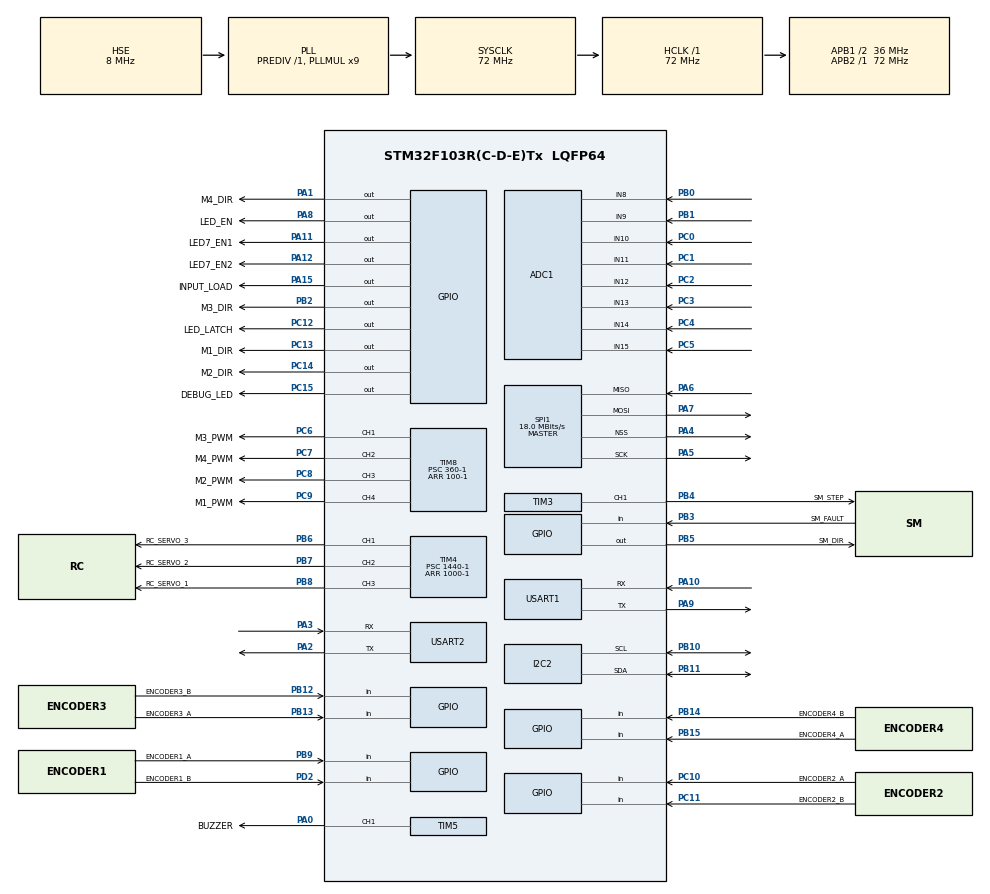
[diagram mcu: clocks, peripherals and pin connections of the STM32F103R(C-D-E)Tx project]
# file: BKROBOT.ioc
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ADC1.Channel-0\#ChannelRegularConversion=ADC_CHANNEL_8
ADC1.Channel-1\#ChannelRegularConversion=ADC_CHANNEL_9
ADC1.Channel-2\#ChannelRegularConversion=ADC_CHANNEL_10
ADC1.Channel-3\#ChannelRegularConversion=ADC_CHANNEL_11
ADC1.Channel-4\#ChannelRegularConversion=ADC_CHANNEL_12
ADC1.Channel-5\#ChannelRegularConversion=ADC_CHANNEL_13
ADC1.Channel-6\#ChannelRegularConversion=ADC_CHANNEL_14
ADC1.Channel-7\#ChannelRegularConversion=ADC_CHANNEL_15
ADC1.ContinuousConvMode=DISABLE
ADC1.DataAlign=ADC_DATAALIGN_RIGHT
ADC1.NbrOfConversion=8
ADC1.NbrOfConversionFlag=1
ADC1.Rank-0\#ChannelRegularConversion=1
ADC1.Rank-1\#ChannelRegularConversion=2
ADC1.Rank-2\#ChannelRegularConversion=3
ADC1.Rank-3\#ChannelRegularConversion=4
ADC1.Rank-4\#ChannelRegularConversion=5
ADC1.Rank-5\#ChannelRegularConversion=6
ADC1.Rank-6\#ChannelRegularConversion=7
ADC1.Rank-7\#ChannelRegularConversion=8
ADC1.SamplingTime-0\#ChannelRegularConversion=ADC_SAMPLETIME_13CYCLES_5
ADC1.SamplingTime-1\#ChannelRegularConversion=ADC_SAMPLETIME_13CYCLES_5
ADC1.SamplingTime-2\#ChannelRegularConversion=ADC_SAMPLETIME_13CYCLES_5
ADC1.SamplingTime-3\#ChannelRegularConversion=ADC_SAMPLETIME_13CYCLES_5
ADC1.SamplingTime-4\#ChannelRegularConversion=ADC_SAMPLETIME_13CYCLES_5
ADC1.SamplingTime-5\#ChannelRegularConversion=ADC_SAMPLETIME_13CYCLES_5
ADC1.SamplingTime-6\#ChannelRegularConversion=ADC_SAMPLETIME_13CYCLES_5
ADC1.SamplingTime-7\#ChannelRegularConversion=ADC_SAMPLETIME_13CYCLES_5
ADC1.master=1
Dma.ADC1.0.Direction=DMA_PERIPH_TO_MEMORY
Dma.ADC1.0.Instance=DMA1_Channel1
Dma.ADC1.0.MemDataAlignment=DMA_MDATAALIGN_HALFWORD
Dma.ADC1.0.MemInc=DMA_MINC_ENABLE
Dma.ADC1.0.Mode=DMA_NORMAL
Dma.ADC1.0.PeriphDataAlignment=DMA_PDATAALIGN_HALFWORD
Dma.ADC1.0.PeriphInc=DMA_PINC_DISABLE
Dma.ADC1.0.Priority=DMA_PRIORITY_HIGH
Dma.Request0=ADC1
Mcu.Family=STM32F1
Mcu.Name=STM32F103R(C-D-E)Tx
Mcu.Package=LQFP64
NVIC.DMA1_Channel1_IRQn=true\:0\:0\:false\:false\:true\:false\:true\:true
NVIC.PriorityGroup=NVIC_PRIORITYGROUP_4
NVIC.TIM2_IRQn=true\:1\:0\:true\:false\:true\:true\:true\:true
NVIC.TIM3_IRQn=true\:0\:0\:true\:false\:true\:true\:true\:true
NVIC.USART1_IRQn=true\:0\:0\:false\:false\:true\:true\:true\:true
NVIC.USART2_IRQn=true\:0\:0\:false\:false\:true\:true\:true\:true
PA0-WKUP.GPIO_Label=BUZZER
PA0-WKUP.Signal=S_TIM5_CH1
PA1.GPIO_Label=M4_DIR
PA1.Signal=GPIO_Output
PA10.Mode=Asynchronous
PA10.Signal=USART1_RX
PA11.GPIO_Label=LED7_EN1
PA11.Signal=GPIO_Output
PA12.GPIO_Label=LED7_EN2
PA12.Signal=GPIO_Output
PA13.Mode=Serial_Wire
PA13.Signal=SYS_JTMS-SWDIO
PA14.Mode=Serial_Wire
PA14.Signal=SYS_JTCK-SWCLK
PA15.GPIO_Label=INPUT_LOAD
PA15.Signal=GPIO_Output
PA2.Mode=Asynchronous
PA2.Signal=USART2_TX
PA3.Mode=Asynchronous
PA3.Signal=USART2_RX
PA4.Mode=NSS_Signal_Hard_Output
PA4.Signal=SPI1_NSS
PA5.Mode=Full_Duplex_Master
PA5.Signal=SPI1_SCK
PA6.Mode=Full_Duplex_Master
PA6.Signal=SPI1_MISO
PA7.Mode=Full_Duplex_Master
PA7.Signal=SPI1_MOSI
PA8.GPIO_Label=LED_EN
PA8.Signal=GPIO_Output
PA9.Mode=Asynchronous
PA9.Signal=USART1_TX
PB0.Signal=ADCx_IN8
PB1.Signal=ADCx_IN9
PB10.Mode=I2C
PB10.Signal=I2C2_SCL
PB11.Mode=I2C
PB11.Signal=I2C2_SDA
PB12.GPIO_Label=ENCODER3_B
PB12.Signal=GPIO_Input
PB13.GPIO_Label=ENCODER3_A
PB13.Signal=GPIO_Input
PB14.GPIO_Label=ENCODER4_B
PB14.Signal=GPIO_Input
PB15.GPIO_Label=ENCODER4_A
PB15.Signal=GPIO_Input
PB2.GPIO_Label=M3_DIR
PB2.Signal=GPIO_Output
PB3.GPIO_Label=SM_FAULT
PB3.Signal=GPIO_Input
PB4.GPIO_Label=SM_STEP
PB4.Signal=S_TIM3_CH1
PB5.GPIO_Label=SM_DIR
PB5.GPIO_Speed=GPIO_SPEED_FREQ_HIGH
PB5.PinState=GPIO_PIN_RESET
PB5.Signal=GPIO_Output
PB6.GPIO_Label=RC_SERVO_3
PB6.Signal=S_TIM4_CH1
PB7.GPIO_Label=RC_SERVO_2
PB7.Signal=S_TIM4_CH2
PB8.GPIO_Label=RC_SERVO_1
PB8.Signal=S_TIM4_CH3
PB9.GPIO_Label=ENCODER1_A
PB9.Signal=GPIO_Input
PC0.Signal=ADCx_IN10
PC1.Signal=ADCx_IN11
PC10.GPIO_Label=ENCODER2_A
PC10.Signal=GPIO_Input
PC11.GPIO_Label=ENCODER2_B
PC11.Signal=GPIO_Input
PC12.GPIO_Label=LED_LATCH
PC12.Signal=GPIO_Output
PC13-TAMPER-RTC.GPIO_Label=M1_DIR
PC13-TAMPER-RTC.Signal=GPIO_Output
PC14-OSC32_IN.GPIO_Label=M2_DIR
PC14-OSC32_IN.Signal=GPIO_Output
PC15-OSC32_OUT.GPIO_Label=DEBUG_LED
PC15-OSC32_OUT.Signal=GPIO_Output
PC2.Signal=ADCx_IN12
PC3.Signal=ADCx_IN13
PC4.Signal=ADCx_IN14
PC5.Signal=ADCx_IN15
PC6.GPIO_Label=M3_PWM
PC6.Signal=S_TIM8_CH1
PC7.GPIO_Label=M4_PWM
PC7.Signal=S_TIM8_CH2
PC8.GPIO_Label=M2_PWM
PC8.Signal=S_TIM8_CH3
PC9.GPIO_Label=M1_PWM
PC9.Signal=S_TIM8_CH4
PD0-OSC_IN.Mode=HSE-External-Oscillator
PD0-OSC_IN.Signal=RCC_OSC_IN
PD1-OSC_OUT.Mode=HSE-External-Oscillator
PD1-OSC_OUT.Signal=RCC_OSC_OUT
PD2.GPIO_Label=ENCODER1_B
PD2.Signal=GPIO_Input
ProjectManager.HeapSize=0x200
ProjectManager.StackSize=0x400
ProjectManager.TargetToolchain=STM32CubeIDE
RCC.ADCPresc=RCC_ADCPCLK2_DIV6
RCC.AHBFreq_Value=72000000
RCC.APB1CLKDivider=RCC_HCLK_DIV2
RCC.APB1Freq_Value=36000000
RCC.APB1TimFreq_Value=72000000
RCC.APB2Freq_Value=72000000
RCC.APB2TimFreq_Value=72000000
RCC.HCLKFreq_Value=72000000
RCC.PLLMUL=RCC_PLL_MUL9
RCC.PLLSourceVirtual=RCC_PLLSOURCE_HSE
RCC.SYSCLKFreq_VALUE=72000000
RCC.SYSCLKSource=RCC_SYSCLKSOURCE_PLLCLK
RCC.USBFreq_Value=72000000
SH.ADCx_IN10.0=ADC1_IN10,IN10
SH.ADCx_IN11.0=ADC1_IN11,IN11
SH.ADCx_IN12.0=ADC1_IN12,IN12
SH.ADCx_IN13.0=ADC1_IN13,IN13
SH.ADCx_IN14.0=ADC1_IN14,IN14
SH.ADCx_IN15.0=ADC1_IN15,IN15
SH.ADCx_IN8.0=ADC1_IN8,IN8
SH.ADCx_IN9.0=ADC1_IN9,IN9
SH.S_TIM3_CH1.0=TIM3_CH1,PWM Generation1 CH1
SH.S_TIM4_CH1.0=TIM4_CH1,PWM Generation1 CH1
SH.S_TIM4_CH2.0=TIM4_CH2,PWM Generation2 CH2
SH.S_TIM4_CH3.0=TIM4_CH3,PWM Generation3 CH3
SH.S_TIM5_CH1.0=TIM5_CH1,PWM Generation1 CH1
SH.S_TIM8_CH1.0=TIM8_CH1,PWM Generation1 CH1
SH.S_TIM8_CH2.0=TIM8_CH2,PWM Generation2 CH2
SH.S_TIM8_CH3.0=TIM8_CH3,PWM Generation3 CH3
SH.S_TIM8_CH4.0=TIM8_CH4,PWM Generation4 CH4
SPI1.BaudRatePrescaler=SPI_BAUDRATEPRESCALER_4
SPI1.CalculateBaudRate=18.0 MBits/s
SPI1.Direction=SPI_DIRECTION_2LINES
SPI1.Mode=SPI_MODE_MASTER
SPI1.VirtualNSS=VM_NSSHARD
SPI1.VirtualType=VM_MASTER
TIM2.AutoReloadPreload=TIM_AUTORELOAD_PRELOAD_ENABLE
TIM2.Period=1000-1
TIM2.Prescaler=72-1
TIM3.Channel-PWM\ Generation1\ CH1=TIM_CHANNEL_1
TIM3.Period=100-1
TIM3.Prescaler=720-1
TIM4.Channel-PWM\ Generation1\ CH1=TIM_CHANNEL_1
TIM4.Channel-PWM\ Generation2\ CH2=TIM_CHANNEL_2
TIM4.Channel-PWM\ Generation3\ CH3=TIM_CHANNEL_3
TIM4.Period=1000-1
TIM4.Prescaler=1440-1
TIM4.Pulse-PWM\ Generation1\ CH1=25
TIM4.Pulse-PWM\ Generation2\ CH2=25
TIM4.Pulse-PWM\ Generation3\ CH3=25
TIM5.Channel-PWM\ Generation1\ CH1=TIM_CHANNEL_1
TIM5.Period=100-1
TIM5.Prescaler=720-1
TIM8.Channel-PWM\ Generation1\ CH1=TIM_CHANNEL_1
TIM8.Channel-PWM\ Generation2\ CH2=TIM_CHANNEL_2
TIM8.Channel-PWM\ Generation3\ CH3=TIM_CHANNEL_3
TIM8.Channel-PWM\ Generation4\ CH4=TIM_CHANNEL_4
TIM8.Period=100-1
TIM8.Prescaler=360-1
USART1.VirtualMode=VM_ASYNC
USART2.VirtualMode=VM_ASYNC
VP_TIM2_VS_ClockSourceINT.Mode=Internal
VP_TIM3_VS_ClockSourceINT.Mode=Internal
VP_TIM4_VS_ClockSourceINT.Mode=Internal
VP_TIM5_VS_ClockSourceINT.Mode=Internal
VP_TIM8_VS_ClockSourceINT.Mode=Internal
board=custom

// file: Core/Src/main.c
/* USER CODE BEGIN Header */
/**
  ******************************************************************************
  * @file           : main.c
  * @brief          : Main program body
  ******************************************************************************
  * @attention
  *
  * Copyright (c) 2024 STMicroelectronics.
  * All rights reserved.
  *
  * This software is licensed under terms that can be found in the LICENSE file
  * in the root directory of this software component.
  * If no LICENSE file comes with this software, it is provided AS-IS.
  *
  ******************************************************************************
  */
/* USER CODE END Header */
#include "main.h"
#include "adc.h"
#include "dma.h"
#include "i2c.h"
#include "spi.h"
#include "tim.h"
#include "usart.h"
#include "gpio.h"

/* USER CODE BEGIN Includes */
#include "software_timer.h"
#include "move.h"
#include "servo.h"
#include "gamepad.h"
#include "step.h"
#include "tone.h"
#include "display.h"
#include "sensor.h"
#include "button.h"
/* USER CODE END Includes */

void SystemClock_Config(void);
/* USER CODE BEGIN PFP */
void ledBlink();

/* USER CODE END PFP */

int main(void)
{

  /* MCU Configuration--------------------------------------------------------*/

  /* Reset of all peripherals, Initializes the Flash interface and the Systick. */
  HAL_Init();

  /* Configure the system clock */
  SystemClock_Config();

  /* Initialize all configured peripherals */
  MX_GPIO_Init();
  MX_DMA_Init();
  MX_ADC1_Init();
  MX_USART1_UART_Init();
  MX_USART2_UART_Init();
  MX_I2C2_Init();
  MX_SPI1_Init();
  MX_TIM8_Init();
  MX_TIM4_Init();
  MX_TIM5_Init();
  MX_TIM2_Init();
  MX_TIM3_Init();
  /* USER CODE BEGIN 2 */
  HAL_TIM_Base_Start_IT(&htim2);
  HAL_TIM_PWM_Start(&htim8, TIM_CHANNEL_1);
  HAL_TIM_PWM_Start(&htim8, TIM_CHANNEL_2);
  HAL_TIM_PWM_Start(&htim8, TIM_CHANNEL_3);
  HAL_TIM_PWM_Start(&htim8, TIM_CHANNEL_4);
  setTimer(0, 10);
  setTimer(1, 1000);
  servo_init(SERVO1);
  gamepad_init();
  display_init();
  button_init();
  display_7seg(47);
  display_led(0x0f);
  int len = 17;
  int note[17] = { NOTE_C5, NOTE_D5, NOTE_E5, NOTE_C5, NOTE_MUTE,
		  	  	  NOTE_C5, NOTE_D5, NOTE_E5, NOTE_C5, NOTE_MUTE,
				  NOTE_E5, NOTE_F5, NOTE_G5, NOTE_MUTE,
				  NOTE_E5, NOTE_F5, NOTE_G5};
  int dur[17] = { 1000, 500, 500, 500, 200,
		  500, 500, 500, 500, 200,
		  500, 500, 500, 200,
		  500, 500, 500};

  do {
	  HAL_Delay(10);
	  button_scan();
  }  while(isButtonPressed(0) == 0);

  SensorCalib();
  tone_play(note, dur, len);
  do {
	  HAL_Delay(10);
	  button_scan();
  }
  while(isButtonPressed(0) == 0);
  /* USER CODE END 2 */

  /* Infinite loop */
  /* USER CODE BEGIN WHILE */
  while (1)
  {
	  if(timer_flag[0] == 1){
		  setTimer(0, 10);
		  ledBlink();
		  SensorScan();
		  gamepad_update();
		  gamepad_run_tele(2);
		  followLineUntilCross();
	  }

    /* USER CODE END WHILE */

  }
}

void SystemClock_Config(void)
{
  RCC_OscInitTypeDef RCC_OscInitStruct = {0};
  RCC_ClkInitTypeDef RCC_ClkInitStruct = {0};
  RCC_PeriphCLKInitTypeDef PeriphClkInit = {0};

  /** Initializes the RCC Oscillators according to the specified parameters
  * in the RCC_OscInitTypeDef structure.
  */
  RCC_OscInitStruct.OscillatorType = RCC_OSCILLATORTYPE_HSE;
  RCC_OscInitStruct.HSEState = RCC_HSE_ON;
  RCC_OscInitStruct.HSEPredivValue = RCC_HSE_PREDIV_DIV1;
  RCC_OscInitStruct.HSIState = RCC_HSI_ON;
  RCC_OscInitStruct.PLL.PLLState = RCC_PLL_ON;
  RCC_OscInitStruct.PLL.PLLSource = RCC_PLLSOURCE_HSE;
  RCC_OscInitStruct.PLL.PLLMUL = RCC_PLL_MUL9;
  if (HAL_RCC_OscConfig(&RCC_OscInitStruct) != HAL_OK)
  {
    Error_Handler();
  }

  /** Initializes the CPU, AHB and APB buses clocks
  */
  RCC_ClkInitStruct.ClockType = RCC_CLOCKTYPE_HCLK|RCC_CLOCKTYPE_SYSCLK
                              |RCC_CLOCKTYPE_PCLK1|RCC_CLOCKTYPE_PCLK2;
  RCC_ClkInitStruct.SYSCLKSource = RCC_SYSCLKSOURCE_PLLCLK;
  RCC_ClkInitStruct.AHBCLKDivider = RCC_SYSCLK_DIV1;
  RCC_ClkInitStruct.APB1CLKDivider = RCC_HCLK_DIV2;
  RCC_ClkInitStruct.APB2CLKDivider = RCC_HCLK_DIV1;

  if (HAL_RCC_ClockConfig(&RCC_ClkInitStruct, FLASH_LATENCY_2) != HAL_OK)
  {
    Error_Handler();
  }
  PeriphClkInit.PeriphClockSelection = RCC_PERIPHCLK_ADC;
  PeriphClkInit.AdcClockSelection = RCC_ADCPCLK2_DIV6;
  if (HAL_RCCEx_PeriphCLKConfig(&PeriphClkInit) != HAL_OK)
  {
    Error_Handler();
  }
}

/* USER CODE BEGIN 4 */

void HAL_TIM_PeriodElapsedCallback ( TIM_HandleTypeDef * htim ){
	if(htim->Instance == TIM2){
		timerRun(0);
		timerRun(1);
		display_run();
	}
}

int led_debug_count = 0;
void ledBlink(){
	led_debug_count++;
	if(led_debug_count == 100){
		led_debug_count = 0;
		HAL_GPIO_TogglePin(DEBUG_LED_GPIO_Port, DEBUG_LED_Pin);
	}
}

/* USER CODE END 4 */

void Error_Handler(void)
{
  __disable_irq();
  while (1)
  {
  }
}
